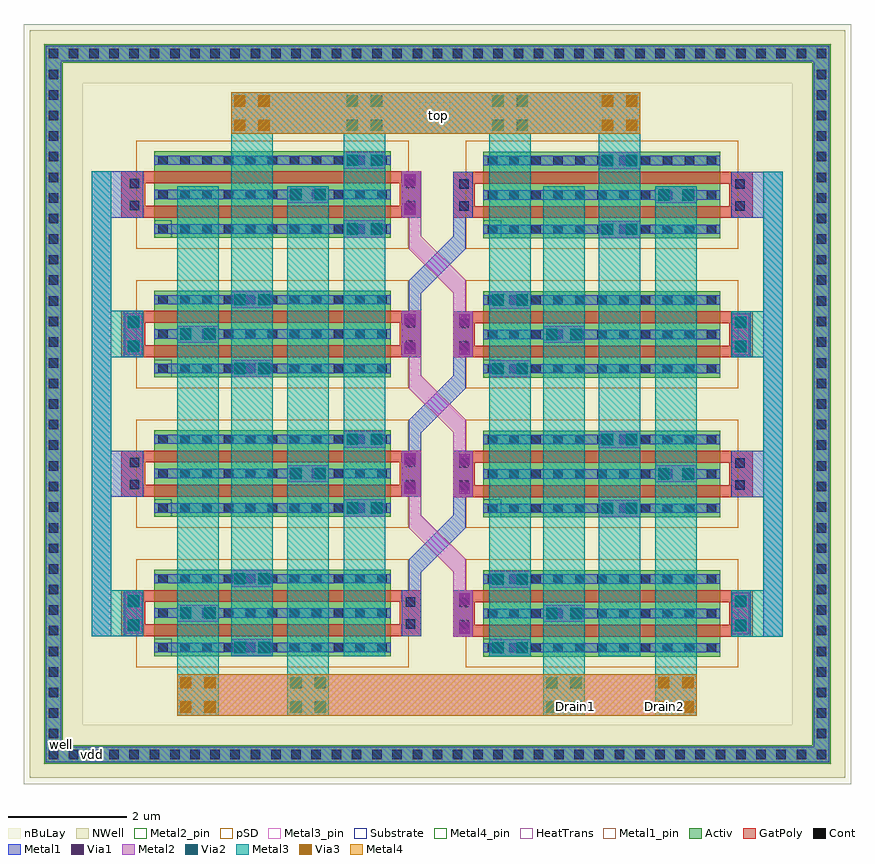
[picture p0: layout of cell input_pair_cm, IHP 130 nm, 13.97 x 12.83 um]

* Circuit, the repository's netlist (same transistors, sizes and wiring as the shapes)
* Extracted by KLayout with SG13G2 LVS runset on : 14/07/2025 15:44

.SUBCKT input_pair_cm vdd Drain2 Drain1 top
M$1 top \$9 Drain1 \$2 sg13_lv_pmos L=0.2u W=32u AS=8.48p AD=8.48p PS=52.24u
+ PD=52.24u
M$3 top \$8 Drain2 \$2 sg13_lv_pmos L=0.2u W=32u AS=8.48p AD=8.48p PS=52.24u
+ PD=52.24u
R$17 \$2 vdd ntap1 A=15.376p P=99.2u
.ENDS input_pair_cm

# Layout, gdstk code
from math import pi, radians
import gdstk
lib = gdstk.Library(unit=1e-6, precision=1e-09)
def R(c, l, rs):  # rectangles x0, y0, x1, y1
    for r in rs: c.add(gdstk.rectangle(r[:2], r[2:], *l))
def A(c, l, x, y, w, h, nx, ny, dx, dy):  # array of equal rectangles
    R(c, l, [(x+i*dx, y+j*dy, x+i*dx+w, y+j*dy+h) for i in range(nx) for j in range(ny)])
def P(c, l, *ps):  # polygons
    for p in ps: c.add(gdstk.Polygon(p, *l))
Activ = (1, 0)
GatPoly = (5, 0)
Cont = (6, 0)
Metal1 = (8, 0)
Metal1_pin = (8, 2)
Metal2 = (10, 0)
Metal2_pin = (10, 2)
pSD = (14, 0)
Via1 = (19, 0)
Via2 = (29, 0)
Metal3 = (30, 0)
Metal3_pin = (30, 2)
NWell = (31, 0)
nBuLay = (32, 0)
Substrate = (40, 0)
Via3 = (49, 0)
Metal4 = (50, 0)
Metal4_pin = (50, 2)
HeatTrans = (51, 0)

via_stack = lib.new_cell('via_stack')
R(via_stack, Metal1, [(-0.145,-0.35,0.145,0.35)])
R(via_stack, Metal2, [(-0.145,-0.35,0.145,0.35)])
R(via_stack, Via1, [(-0.095,-0.3,0.095,-0.11), (-0.095,0.11,0.095,0.3)])
R(via_stack, Via2, [(-0.095,-0.3,0.095,-0.11), (-0.095,0.11,0.095,0.3)])
R(via_stack, Metal3, [(-0.145,-0.35,0.145,0.35)])

via_stack_1 = lib.new_cell('via_stack$1')
R(via_stack_1, Metal1, [(-0.35,-0.145,0.35,0.145)])
R(via_stack_1, Metal2, [(-0.35,-0.145,0.35,0.145)])
R(via_stack_1, Via1, [(-0.3,-0.095,-0.11,0.095), (0.11,-0.095,0.3,0.095)])
R(via_stack_1, Via2, [(-0.3,-0.095,-0.11,0.095), (0.11,-0.095,0.3,0.095)])
R(via_stack_1, Metal3, [(-0.35,-0.145,0.35,0.145)])

pmos_1 = lib.new_cell('pmos$1')
A(pmos_1, Activ, 0, 0, 0.3, 0.3, 3, 1, 0.58, 0)
R(pmos_1, Activ, [(0,0,1.46,4)])
R(pmos_1, GatPoly, [(0.34,-0.18,0.54,4.18), (0.34,-0.18,0.54,4.18), (0.92,-0.18,1.12,4.18)])
A(pmos_1, Cont, 0.07, 0.07, 0.16, 0.16, 3, 11, 0.58, 0.37)
R(pmos_1, Metal1, [(0.07,0,0.23,4), (0.07,0,0.23,4), (0.65,0,0.81,4), (0.65,0,0.81,4), (1.23,0,1.39,4)])
R(pmos_1, pSD, [(-0.18,-0.3,1.64,4.3)])
R(pmos_1, NWell, [(-0.31,-0.31,1.77,4.31)])
R(pmos_1, Substrate, [(1.16,0,1.46,0.3)])
R(pmos_1, HeatTrans, [(0.34,-0.18,0.54,4.18), (0.92,-0.18,1.12,4.18)])
pmos_1.add(gdstk.Label('pmos', (0.44,2), layer=63, texttype=0))
pmos_1.add(gdstk.Label('pmos', (0.44,2), layer=51, texttype=0))
pmos_1.add(gdstk.Label('pmos', (1.02,2), layer=51, texttype=0))

via_stack_1_2 = lib.new_cell('via_stack$1$2')
R(via_stack_1_2, Metal1, [(-0.35,-0.145,0.35,0.145)])
R(via_stack_1_2, Metal2, [(-0.35,-0.145,0.35,0.145)])
R(via_stack_1_2, Via1, [(-0.3,-0.095,-0.11,0.095), (0.11,-0.095,0.3,0.095)])
R(via_stack_1_2, Via2, [(-0.3,-0.095,-0.11,0.095), (0.11,-0.095,0.3,0.095)])
R(via_stack_1_2, Metal3, [(-0.35,-0.145,0.35,0.145)])

via_stack_3 = lib.new_cell('via_stack$3')
R(via_stack_3, Metal2, [(-0.35,-0.35,0.35,0.35)])
R(via_stack_3, Via2, [(-0.3,-0.3,-0.11,-0.11), (0.11,-0.3,0.3,-0.11), (-0.3,0.11,-0.11,0.3), (0.11,0.11,0.3,0.3)])
R(via_stack_3, Metal3, [(-0.35,-0.35,0.35,0.35)])

via_stack_2 = lib.new_cell('via_stack$2')
R(via_stack_2, Metal3, [(-0.35,-0.35,0.35,0.35)])
R(via_stack_2, Via3, [(-0.3,-0.3,-0.11,-0.11), (0.11,-0.3,0.3,-0.11), (-0.3,0.11,-0.11,0.3), (0.11,0.11,0.3,0.3)])
R(via_stack_2, Metal4, [(-0.35,-0.35,0.35,0.35)])

gring_1 = lib.new_cell('gring$1')
P(gring_1, Activ, [(0,0),(0,11.83),(0.31,11.83),(0.31,0.31),(12.97,0.31),(12.97,11.83),(0,11.83),(0,12.14),(13.28,12.14),(13.28,0)])
A(gring_1, Cont, 0.76, 0.075, 0.16, 0.16, 4, 2, 0.34, 11.83)
A(gring_1, Cont, 2.125, 0.075, 0.16, 0.16, 4, 2, 0.34, 11.83)
A(gring_1, Cont, 3.49, 0.075, 0.16, 0.16, 4, 2, 0.34, 11.83)
A(gring_1, Cont, 4.855, 0.075, 0.16, 0.16, 4, 2, 0.34, 11.83)
A(gring_1, Cont, 6.22, 0.075, 0.16, 0.16, 3, 2, 0.34, 11.83)
A(gring_1, Cont, 7.245, 0.075, 0.16, 0.16, 4, 2, 0.34, 11.83)
A(gring_1, Cont, 8.61, 0.075, 0.16, 0.16, 4, 2, 0.34, 11.83)
A(gring_1, Cont, 9.975, 0.075, 0.16, 0.16, 4, 2, 0.34, 11.83)
A(gring_1, Cont, 11.34, 0.075, 0.16, 0.16, 4, 2, 0.34, 11.83)
A(gring_1, Cont, 0.075, 1.465, 0.16, 0.16, 1, 3, 0, 0.35)
A(gring_1, Cont, 13.045, 1.465, 0.16, 0.16, 1, 3, 0, 0.35)
A(gring_1, Cont, 0.075, 3.9, 0.16, 0.16, 1, 3, 0, 0.35)
A(gring_1, Cont, 13.045, 3.9, 0.16, 0.16, 1, 3, 0, 0.35)
A(gring_1, Cont, 0.075, 5.64, 0.16, 0.16, 1, 3, 0, 0.35)
A(gring_1, Cont, 13.045, 5.64, 0.16, 0.16, 1, 3, 0, 0.35)
A(gring_1, Cont, 0.075, 7.38, 0.16, 0.16, 1, 3, 0, 0.35)
A(gring_1, Cont, 13.045, 7.38, 0.16, 0.16, 1, 3, 0, 0.35)
A(gring_1, Cont, 0.075, 9.815, 0.16, 0.16, 1, 3, 0, 0.35)
A(gring_1, Cont, 13.045, 9.815, 0.16, 0.16, 1, 3, 0, 0.35)
R(gring_1, Cont, [(0.075,0.075,0.235,0.235), (0.075,0.075,0.235,0.235), (0.415,0.075,0.575,0.235), (12.705,0.075,12.865,0.235), (13.045,0.075,13.205,0.235), (13.045,0.075,13.205,0.235), (0.075,0.425,0.235,0.585), (13.045,0.425,13.205,0.585), (0.075,0.77,0.235,0.93), (13.045,0.77,13.205,0.93), (0.075,1.12,0.235,1.28), (13.045,1.12,13.205,1.28), (0.075,2.51,0.235,2.67), (13.045,2.51,13.205,2.67), (0.075,2.86,0.235,3.02), (13.045,2.86,13.205,3.02), (0.075,3.205,0.235,3.365), (13.045,3.205,13.205,3.365), (0.075,3.555,0.235,3.715), (13.045,3.555,13.205,3.715), (0.075,4.945,0.235,5.105), (13.045,4.945,13.205,5.105), (0.075,5.295,0.235,5.455), (13.045,5.295,13.205,5.455), (0.075,6.685,0.235,6.845), (13.045,6.685,13.205,6.845), (0.075,7.035,0.235,7.195), (13.045,7.035,13.205,7.195), (0.075,8.425,0.235,8.585), (13.045,8.425,13.205,8.585), (0.075,8.775,0.235,8.935), (13.045,8.775,13.205,8.935), (0.075,9.12,0.235,9.28), (13.045,9.12,13.205,9.28), (0.075,9.47,0.235,9.63), (13.045,9.47,13.205,9.63), (0.075,10.86,0.235,11.02), (13.045,10.86,13.205,11.02), (0.075,11.21,0.235,11.37), (13.045,11.21,13.205,11.37), (0.075,11.555,0.235,11.715), (13.045,11.555,13.205,11.715), (0.075,11.905,0.235,12.065), (0.075,11.905,0.235,12.065), (0.415,11.905,0.575,12.065), (12.705,11.905,12.865,12.065), (13.045,11.905,13.205,12.065), (13.045,11.905,13.205,12.065)])
P(gring_1, Metal1, [(0.025,0.025),(0.025,11.855),(0.285,11.855),(0.285,0.285),(12.995,0.285),(12.995,11.855),(0.025,11.855),(0.025,12.115),(13.255,12.115),(13.255,0.025)])
R(gring_1, NWell, [(0,0,13.28,12.14)])

input_pair_cm = lib.new_cell('input_pair_cm')
A(input_pair_cm, GatPoly, 11.275, 16.835, 0.36, 0.78, 1, 4, 0, 2.355)
A(input_pair_cm, GatPoly, 15.935, 16.835, 0.4, 0.78, 1, 4, 0, 2.355)
A(input_pair_cm, GatPoly, 5.675, 16.84, 0.4, 0.78, 1, 4, 0, 2.355)
A(input_pair_cm, GatPoly, 10.375, 16.84, 0.36, 0.78, 1, 4, 0, 2.355)
R(input_pair_cm, Cont, [(11.375,16.96,11.535,17.12), (16.035,16.96,16.195,17.12), (5.815,16.965,5.975,17.125), (10.475,16.965,10.635,17.125), (11.375,17.33,11.535,17.49), (16.035,17.33,16.195,17.49), (5.815,17.335,5.975,17.495), (10.475,17.335,10.635,17.495), (11.375,19.315,11.535,19.475), (16.035,19.315,16.195,19.475), (5.815,19.32,5.975,19.48), (10.475,19.32,10.635,19.48), (11.375,19.685,11.535,19.845), (16.035,19.685,16.195,19.845), (5.815,19.69,5.975,19.85), (10.475,19.69,10.635,19.85), (11.375,21.67,11.535,21.83), (16.035,21.67,16.195,21.83), (5.815,21.675,5.975,21.835), (10.475,21.675,10.635,21.835), (11.375,22.04,11.535,22.2), (16.035,22.04,16.195,22.2), (5.815,22.045,5.975,22.205), (10.475,22.045,10.635,22.205), (11.375,24.025,11.535,24.185), (16.035,24.025,16.195,24.185), (5.815,24.03,5.975,24.19), (10.475,24.03,10.635,24.19), (11.375,24.395,11.535,24.555), (16.035,24.395,16.195,24.555), (5.815,24.4,5.975,24.56), (10.475,24.4,10.635,24.56)])
R(input_pair_cm, Metal1, [(11.275,16.835,11.605,17.615), (15.965,16.835,16.295,17.615), (5.715,16.84,6.045,17.62), (15.965,21.545,16.295,22.325), (5.715,21.55,6.045,22.33), (10.405,23.905,10.735,24.685)])
P(input_pair_cm, Metal1, [(16.505,16.835),(16.505,19.19),(15.965,19.19),(15.965,19.97),(16.505,19.97),(16.505,23.9),(15.965,23.9),(15.965,24.68),(16.835,24.68),(16.835,16.835)],
  [(10.405,21.55),(10.405,22.33),(10.525,22.33),(10.525,22.84),(11.275,23.59),(11.275,24.68),(11.605,24.68),(11.605,23.9),(11.485,23.9),(11.485,23.38),(10.735,22.63),(10.735,21.55)],
  [(10.405,19.195),(10.405,19.975),(10.525,19.975),(10.525,20.485),(11.275,21.235),(11.275,22.325),(11.605,22.325),(11.605,21.545),(11.485,21.545),(11.485,21.025),(10.735,20.275),(10.735,19.195)],
  [(10.405,16.84),(10.405,17.62),(10.525,17.62),(10.525,18.13),(11.275,18.88),(11.275,19.97),(11.605,19.97),(11.605,19.19),(11.485,19.19),(11.485,18.67),(10.735,17.92),(10.735,16.84)],
  [(5.175,16.84),(5.175,24.685),(6.045,24.685),(6.045,23.905),(5.505,23.905),(5.505,19.975),(6.045,19.975),(6.045,19.195),(5.505,19.195),(5.505,16.84)])
R(input_pair_cm, Metal1_pin, [(5.07,14.715,5.355,14.975)])
R(input_pair_cm, Metal2, [(6.615,15.5,15.385,16.2), (15.985,16.875,16.275,17.575), (5.735,16.88,6.025,17.58), (15.985,21.585,16.275,22.285), (5.735,21.59,6.025,22.29), (7.525,25.32,14.435,26.02)])
P(input_pair_cm, Metal2, [(11.275,21.545),(11.275,22.635),(10.525,23.385),(10.525,23.905),(10.405,23.905),(10.405,24.685),(10.735,24.685),(10.735,23.595),(11.485,22.845),(11.485,22.325),(11.605,22.325),(11.605,21.545)],
  [(11.275,19.19),(11.275,20.28),(10.525,21.03),(10.525,21.55),(10.405,21.55),(10.405,22.33),(10.735,22.33),(10.735,21.24),(11.485,20.49),(11.485,19.97),(11.605,19.97),(11.605,19.19)],
  [(11.275,16.835),(11.275,17.925),(10.525,18.675),(10.525,19.195),(10.405,19.195),(10.405,19.975),(10.735,19.975),(10.735,18.885),(11.485,18.135),(11.485,17.615),(11.605,17.615),(11.605,16.835)])
R(input_pair_cm, Metal2_pin, [(13.255,15.55,13.445,15.74)])
R(input_pair_cm, Via1, [(11.37,16.885,11.56,17.075), (16.035,16.925,16.225,17.115), (5.785,16.93,5.975,17.12), (16.035,17.335,16.225,17.525), (5.785,17.34,5.975,17.53), (11.37,17.375,11.56,17.565), (11.37,19.24,11.56,19.43), (10.45,19.245,10.64,19.435), (11.37,19.73,11.56,19.92), (10.45,19.735,10.64,19.925), (11.37,21.595,11.56,21.785), (10.45,21.6,10.64,21.79), (16.035,21.635,16.225,21.825), (5.785,21.64,5.975,21.83), (16.035,22.045,16.225,22.235), (5.785,22.05,5.975,22.24), (11.37,22.085,11.56,22.275), (10.45,22.09,10.64,22.28), (10.45,23.955,10.64,24.145), (10.45,24.445,10.64,24.635)])
R(input_pair_cm, Via2, [(16.035,16.925,16.225,17.115), (5.785,16.93,5.975,17.12), (16.035,17.335,16.225,17.525), (5.785,17.34,5.975,17.53), (16.035,21.635,16.225,21.825), (5.785,21.64,5.975,21.83), (16.035,22.045,16.225,22.235), (5.785,22.05,5.975,22.24)])
R(input_pair_cm, Metal3, [(6.615,16.2,7.315,24.44), (8.475,16.2,9.175,24.44), (14.685,16.2,15.385,24.435), (9.425,16.5,10.125,26.02), (11.885,16.5,12.585,25.82), (7.525,16.505,8.225,26.02), (13.735,16.505,14.435,26.02), (7.525,25.32,14.435,26.02)])
P(input_pair_cm, Metal3, [(12.795,15.5),(12.795,24.44),(12.865,24.44),(13.495,24.44),(13.495,15.5)],
  [(15.965,16.835),(15.965,17.615),(16.505,17.615),(16.505,21.545),(15.965,21.545),(15.965,22.325),(16.505,22.325),(16.505,24.68),(16.835,24.68),(16.835,16.835)],
  [(5.175,16.84),(5.175,24.685),(5.505,24.685),(5.505,22.33),(6.045,22.33),(6.045,21.55),(5.505,21.55),(5.505,17.62),(6.045,17.62),(6.045,16.84)])
R(input_pair_cm, Metal3_pin, [(10.7,25.505,11.225,25.85)])
R(input_pair_cm, NWell, [(4.13,14.45,17.89,27.07)])
R(input_pair_cm, nBuLay, [(4.025,14.345,17.995,15.345), (4.025,15.345,5.025,27.175), (16.995,15.345,17.995,27.175), (5.025,26.175,16.995,27.175)])
R(input_pair_cm, Metal4, [(6.615,15.5,15.385,16.2), (7.525,25.32,14.435,26.02)])
R(input_pair_cm, Metal4_pin, [(14.735,15.55,14.925,15.74)])
input_pair_cm.add(gdstk.Reference(via_stack, (9.775,24.875), rotation=3*pi/2))
input_pair_cm.add(gdstk.Reference(via_stack, (9.775,23.715), rotation=3*pi/2))
input_pair_cm.add(gdstk.Reference(via_stack, (9.775,20.165), rotation=3*pi/2))
input_pair_cm.add(gdstk.Reference(via_stack, (9.775,19.005), rotation=3*pi/2))
input_pair_cm.add(gdstk.Reference(via_stack_1, (5.88,21.94), rotation=3*pi/2))
input_pair_cm.add(gdstk.Reference(via_stack_1, (5.88,17.23), rotation=3*pi/2))
input_pair_cm.add(gdstk.Reference(via_stack, (12.235,22.515), rotation=3*pi/2))
input_pair_cm.add(gdstk.Reference(via_stack, (12.235,21.355), rotation=3*pi/2))
input_pair_cm.add(gdstk.Reference(pmos_1, (11.785,22.665), rotation=3*pi/2))
input_pair_cm.add(gdstk.Reference(pmos_1, (11.785,17.955), rotation=3*pi/2))
input_pair_cm.add(gdstk.Reference(pmos_1, (11.785,20.31), rotation=3*pi/2))
input_pair_cm.add(gdstk.Reference(pmos_1, (6.225,25.025), rotation=3*pi/2))
input_pair_cm.add(gdstk.Reference(pmos_1, (6.225,22.67), rotation=3*pi/2))
input_pair_cm.add(gdstk.Reference(pmos_1, (11.785,25.02), rotation=3*pi/2))
input_pair_cm.add(gdstk.Reference(pmos_1, (6.225,20.315), rotation=3*pi/2))
input_pair_cm.add(gdstk.Reference(pmos_1, (6.225,17.96), rotation=3*pi/2))
input_pair_cm.add(gdstk.Reference(via_stack_1_2, (16.13,21.935), rotation=3*pi/2, x_reflection=True))
input_pair_cm.add(gdstk.Reference(via_stack_1_2, (16.13,17.225), rotation=3*pi/2, x_reflection=True))
input_pair_cm.add(gdstk.Reference(via_stack, (12.235,17.8), rotation=3*pi/2))
input_pair_cm.add(gdstk.Reference(via_stack, (12.235,16.645), rotation=3*pi/2))
input_pair_cm.add(gdstk.Reference(via_stack, (14.085,24.87), rotation=3*pi/2))
input_pair_cm.add(gdstk.Reference(via_stack, (14.085,23.71), rotation=3*pi/2))
input_pair_cm.add(gdstk.Reference(via_stack, (7.875,22.52), rotation=3*pi/2))
input_pair_cm.add(gdstk.Reference(via_stack, (7.875,21.36), rotation=3*pi/2))
input_pair_cm.add(gdstk.Reference(via_stack, (14.085,20.16), rotation=3*pi/2))
input_pair_cm.add(gdstk.Reference(via_stack, (14.085,19), rotation=3*pi/2))
input_pair_cm.add(gdstk.Reference(via_stack, (7.875,17.81), rotation=3*pi/2))
input_pair_cm.add(gdstk.Reference(via_stack, (7.875,16.65), rotation=3*pi/2))
input_pair_cm.add(gdstk.Reference(via_stack, (9.775,23.715), rotation=3*pi/2))
input_pair_cm.add(gdstk.Reference(via_stack, (8.825,24.295), rotation=3*pi/2))
input_pair_cm.add(gdstk.Reference(via_stack, (8.825,19.585), rotation=3*pi/2))
input_pair_cm.add(gdstk.Reference(via_stack, (13.145,17.225), rotation=3*pi/2))
input_pair_cm.add(gdstk.Reference(via_stack, (13.145,21.935), rotation=3*pi/2))
input_pair_cm.add(gdstk.Reference(via_stack, (15.035,24.29), rotation=3*pi/2))
input_pair_cm.add(gdstk.Reference(via_stack, (6.965,21.94), rotation=3*pi/2))
input_pair_cm.add(gdstk.Reference(via_stack, (15.035,19.58), rotation=3*pi/2))
input_pair_cm.add(gdstk.Reference(via_stack, (6.965,17.23), rotation=3*pi/2))
input_pair_cm.add(gdstk.Reference(via_stack_3, (12.235,25.67), rotation=3*pi/2))
input_pair_cm.add(gdstk.Reference(via_stack_3, (8.825,15.85), rotation=3*pi/2))
input_pair_cm.add(gdstk.Reference(via_stack_2, (15.035,15.85), rotation=3*pi/2))
input_pair_cm.add(gdstk.Reference(via_stack_2, (6.965,15.85), rotation=3*pi/2))
input_pair_cm.add(gdstk.Reference(via_stack_3, (13.145,15.85), rotation=3*pi/2))
input_pair_cm.add(gdstk.Reference(via_stack_2, (7.875,25.67), rotation=3*pi/2))
input_pair_cm.add(gdstk.Reference(via_stack_2, (14.085,25.67), rotation=3*pi/2))
input_pair_cm.add(gdstk.Reference(gring_1, (4.37,14.69)))
input_pair_cm.add(gdstk.Reference(via_stack_3, (9.775,25.67), rotation=3*pi/2))
input_pair_cm.add(gdstk.Label('well', (4.655,15.015), layer=63, texttype=0))
input_pair_cm.add(gdstk.Label('vdd', (5.185,14.845), layer=8, texttype=25))
input_pair_cm.add(gdstk.Label('Drain1', (13.34,15.645), layer=10, texttype=25))
input_pair_cm.add(gdstk.Label('Drain2', (14.85,15.655), layer=50, texttype=25))
input_pair_cm.add(gdstk.Label('top', (11.035,25.625), layer=30, texttype=25))

lib.write_gds('input_pair_cm.gds')
